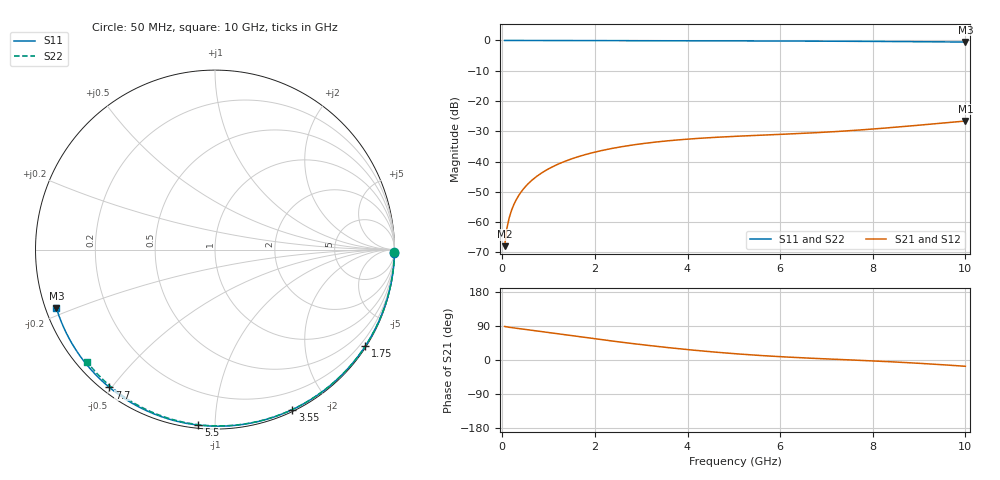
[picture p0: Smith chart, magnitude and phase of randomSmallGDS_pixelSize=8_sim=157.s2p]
! freq	dB(S11)	phase(S11)	dB(S12)	phase(S12)
!  dB(S21)	phase(S21)	dB(S22)	phase(S22)
!S-par simulation data
#  GHz  S  DB  R 50
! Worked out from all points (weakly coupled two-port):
!   200 points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, 50 MHz to 10 GHz, reference 50 ohm
!   highest |S21| = -26.62 dB at 10 GHz (marker M1); lowest = -68.0 dB at 50 MHz (marker M2)
!   lowest |S11| = -0.5 dB at 10 GHz (marker M3), VSWR 33.30, Z = 1.55 - j8.89 ohm
!   |S11| at or under -10 dB: nowhere
!   |S22| runs from -0.5 to 0.0 dB; largest |S21 - S12| = 0
!   S11 on the Smith chart (normalised r, x): 50 MHz: open; 1.75 GHz: 0.03, -3.42; 3.55 GHz: 0.02, -1.59; 5.5 GHz: 0.02, -0.91; 7.7 GHz: 0.02, -0.49; 10 GHz: 0.03, -0.18
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0.05  -0.00 -1.0  -67.97 88.5  -67.97 88.5  -0.00 -0.8
0.1  -0.00 -1.9  -62.02 87.3  -62.02 87.3  -0.00 -1.6
0.15  -0.00 -2.9  -58.56 86.3  -58.56 86.3  -0.00 -2.5
0.2  -0.00 -3.8  -56.11 85.4  -56.11 85.4  -0.00 -3.3
0.25  -0.00 -4.8  -54.21 84.6  -54.21 84.6  -0.00 -4.1
0.35  -0.00 -6.6  -51.34 83.1  -51.34 83.1  -0.00 -5.7
0.5  -0.01 -9.5  -48.29 80.6  -48.29 80.6  -0.01 -8.1
0.7  -0.01 -13.2  -45.42 77.3  -45.42 77.3  -0.01 -11.4
1  -0.02 -18.8  -42.42 72.3  -42.42 72.3  -0.02 -16.2
1.35  -0.03 -25.3  -39.95 66.4  -39.95 66.4  -0.03 -21.8
1.75  -0.04 -32.6  -37.90 59.9  -37.90 59.9  -0.04 -28.1
2.5  -0.06 -46.1  -35.31 48.0  -35.31 48.0  -0.05 -39.7
3.4  -0.08 -61.7  -33.43 35.1  -33.43 35.1  -0.07 -53.3
3.55  -0.09 -64.2  -33.20 33.1  -33.20 33.1  -0.08 -55.5
4.3  -0.11 -76.6  -32.29 24.0  -32.29 24.0  -0.10 -66.4
5.05  -0.14 -88.5  -31.66 16.4  -31.66 16.4  -0.12 -76.9
5.5  -0.16 -95.4  -31.36 12.5  -31.36 12.5  -0.14 -83.0
6.7  -0.22 -113.2  -30.53 4.5  -30.53 4.5  -0.19 -98.6
7.7  -0.29 -127.5  -29.61 -0.8  -29.61 -0.8  -0.25 -111.1
8.35  -0.34 -136.6  -28.84 -4.4  -28.84 -4.4  -0.30 -119.0
9.2  -0.43 -148.5  -27.72 -10.2  -27.72 -10.2  -0.38 -129.2
10  -0.52 -159.8  -26.62 -16.6  -26.62 -16.6  -0.46 -138.6
